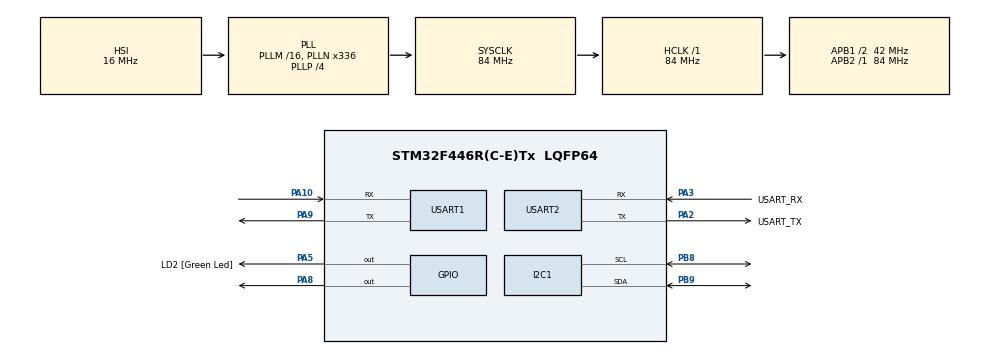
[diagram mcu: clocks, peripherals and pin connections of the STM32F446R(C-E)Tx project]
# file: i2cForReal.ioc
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Dma.I2C1_RX.1.Direction=DMA_PERIPH_TO_MEMORY
Dma.I2C1_RX.1.FIFOMode=DMA_FIFOMODE_DISABLE
Dma.I2C1_RX.1.Instance=DMA1_Stream0
Dma.I2C1_RX.1.MemDataAlignment=DMA_MDATAALIGN_BYTE
Dma.I2C1_RX.1.MemInc=DMA_MINC_ENABLE
Dma.I2C1_RX.1.Mode=DMA_NORMAL
Dma.I2C1_RX.1.PeriphDataAlignment=DMA_PDATAALIGN_BYTE
Dma.I2C1_RX.1.PeriphInc=DMA_PINC_DISABLE
Dma.I2C1_RX.1.Priority=DMA_PRIORITY_LOW
Dma.I2C1_TX.0.Direction=DMA_MEMORY_TO_PERIPH
Dma.I2C1_TX.0.FIFOMode=DMA_FIFOMODE_DISABLE
Dma.I2C1_TX.0.Instance=DMA1_Stream6
Dma.I2C1_TX.0.MemDataAlignment=DMA_MDATAALIGN_BYTE
Dma.I2C1_TX.0.MemInc=DMA_MINC_ENABLE
Dma.I2C1_TX.0.Mode=DMA_NORMAL
Dma.I2C1_TX.0.PeriphDataAlignment=DMA_PDATAALIGN_BYTE
Dma.I2C1_TX.0.PeriphInc=DMA_PINC_DISABLE
Dma.I2C1_TX.0.Priority=DMA_PRIORITY_LOW
Dma.Request0=I2C1_TX
Dma.Request1=I2C1_RX
Dma.Request2=USART1_RX
Dma.USART1_RX.2.Direction=DMA_PERIPH_TO_MEMORY
Dma.USART1_RX.2.FIFOMode=DMA_FIFOMODE_DISABLE
Dma.USART1_RX.2.Instance=DMA2_Stream2
Dma.USART1_RX.2.MemDataAlignment=DMA_MDATAALIGN_BYTE
Dma.USART1_RX.2.MemInc=DMA_MINC_ENABLE
Dma.USART1_RX.2.Mode=DMA_NORMAL
Dma.USART1_RX.2.PeriphDataAlignment=DMA_PDATAALIGN_BYTE
Dma.USART1_RX.2.PeriphInc=DMA_PINC_DISABLE
Dma.USART1_RX.2.Priority=DMA_PRIORITY_LOW
Mcu.Family=STM32F4
Mcu.Name=STM32F446R(C-E)Tx
Mcu.Package=LQFP64
NVIC.DMA1_Stream0_IRQn=true\:0\:0\:false\:false\:true\:false\:true\:true
NVIC.DMA1_Stream6_IRQn=true\:0\:0\:false\:false\:true\:false\:true\:true
NVIC.DMA2_Stream2_IRQn=true\:0\:0\:false\:false\:true\:false\:true\:true
NVIC.I2C1_ER_IRQn=true\:0\:0\:false\:false\:true\:true\:true\:true
NVIC.I2C1_EV_IRQn=true\:0\:0\:false\:false\:true\:true\:true\:true
NVIC.PriorityGroup=NVIC_PRIORITYGROUP_0
NVIC.TIM8_TRG_COM_TIM14_IRQn=true\:0\:0\:false\:false\:true\:true\:true\:true
PA10.Mode=Asynchronous
PA10.Signal=USART1_RX
PA13.GPIO_Label=TMS
PA13.Mode=Serial_Wire
PA13.Signal=SYS_JTMS-SWDIO
PA14.GPIO_Label=TCK
PA14.Mode=Serial_Wire
PA14.Signal=SYS_JTCK-SWCLK
PA2.GPIO_Label=USART_TX
PA2.Mode=Asynchronous
PA2.Signal=USART2_TX
PA3.GPIO_Label=USART_RX
PA3.Mode=Asynchronous
PA3.Signal=USART2_RX
PA5.GPIO_Label=LD2 [Green Led]
PA5.Signal=GPIO_Output
PA8.Signal=GPIO_Output
PA9.Mode=Asynchronous
PA9.Signal=USART1_TX
PB3.GPIO_Label=SWO
PB3.Signal=SYS_JTDO-SWO
PB8.Mode=I2C
PB8.Signal=I2C1_SCL
PB9.Mode=I2C
PB9.Signal=I2C1_SDA
PC14-OSC32_IN.Mode=LSE-External-Oscillator
PC14-OSC32_IN.Signal=RCC_OSC32_IN
PC15-OSC32_OUT.Mode=LSE-External-Oscillator
PC15-OSC32_OUT.Signal=RCC_OSC32_OUT
PH0-OSC_IN.Mode=HSE-External-Oscillator
PH0-OSC_IN.Signal=RCC_OSC_IN
PH1-OSC_OUT.Mode=HSE-External-Oscillator
PH1-OSC_OUT.Signal=RCC_OSC_OUT
ProjectManager.HeapSize=0x200
ProjectManager.StackSize=0x400
ProjectManager.TargetToolchain=STM32CubeIDE
RCC.48MHZClocksFreq_Value=84000000
RCC.AHBFreq_Value=84000000
RCC.APB1CLKDivider=RCC_HCLK_DIV2
RCC.APB1Freq_Value=42000000
RCC.APB1TimFreq_Value=84000000
RCC.APB2Freq_Value=84000000
RCC.APB2TimFreq_Value=84000000
RCC.CortexFreq_Value=84000000
RCC.FLatency-AdvancedSettings=FLASH_LATENCY_2
RCC.HCLKFreq_Value=84000000
RCC.HSE_VALUE=8000000
RCC.HSI_VALUE=16000000
RCC.PLLN=336
RCC.PLLP=RCC_PLLP_DIV4
RCC.SYSCLKFreq_VALUE=84000000
RCC.SYSCLKSource=RCC_SYSCLKSOURCE_PLLCLK
RCC.USBFreq_Value=168000000
RCC.VCOOutputFreq_Value=336000000
TIM14.Period=500-1
TIM14.Prescaler=84-1
USART1.VirtualMode=VM_ASYNC
USART2.VirtualMode=VM_ASYNC
VP_TIM14_VS_ClockSourceINT.Mode=Enable_Timer
board=NUCLEO-F446RE

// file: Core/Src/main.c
/* USER CODE BEGIN Header */
/**
  ******************************************************************************
  * @file           : main.c
  * @brief          : Main program body
  ******************************************************************************
  * @attention
  *
  * Copyright (c) 2025 STMicroelectronics.
  * All rights reserved.
  *
  * This software is licensed under terms that can be found in the LICENSE file
  * in the root directory of this software component.
  * If no LICENSE file comes with this software, it is provided AS-IS.
  *
  ******************************************************************************
  */
/* USER CODE END Header */
#include "main.h"

/* USER CODE BEGIN Includes */
#include <stdio.h>
#include <string.h>
/* USER CODE END Includes */

/* USER CODE BEGIN PTD */
//keeping task info nice and organized for use with our rtos scheduler
typedef struct task
{
	int state;
	unsigned long period;
	unsigned long elapsedTime;
	int (*Function)(int);// (float);
} task;
/* USER CODE END PTD */

/* USER CODE BEGIN PD */
//defining address of ina219
#define inaAddr (0x40 << 1)
#define inaReg (0x04)
/* USER CODE END PD */

I2C_HandleTypeDef hi2c1;
DMA_HandleTypeDef hdma_i2c1_tx;
DMA_HandleTypeDef hdma_i2c1_rx;

TIM_HandleTypeDef htim14;

UART_HandleTypeDef huart1;
UART_HandleTypeDef huart2;
DMA_HandleTypeDef hdma_usart1_rx;

/* USER CODE BEGIN PV */
//setting variables for rtos stuff
const unsigned int numTasks = 3;
const unsigned long period = 1;
//creating easy to read state variables
enum yellStates{start, talk};
enum uartStates{first, hello, ask1, ask2, ready, done};

task tasks[3];
//enum BL_states {BL0, BL1};
// global variables for current() task, didnt know how else to do this
float sample1 = 0;
float sample2 = 0;
uint8_t txBuf1[12];
uint8_t txBuf2[12];
uint8_t rxBuf1[12] = {0,1,1};
uint8_t rxBuf2[12];

HAL_StatusTypeDef ret;
int16_t val1;
int16_t val2;

uint8_t msg[16];
float amp1;
float amp2;
float thresh = .200;
uint8_t cal[3] = { 0x05, 0x10, 0x00 }; // reg 0x05, value 0x1000

/* USER CODE END PV */

void SystemClock_Config(void);
static void MX_GPIO_Init(void);
static void MX_DMA_Init(void);
static void MX_USART2_UART_Init(void);
static void MX_I2C1_Init(void);
static void MX_TIM14_Init(void);
static void MX_USART1_UART_Init(void);
/* USER CODE BEGIN PFP */

//void current(int state);
/* USER CODE END PFP */

/* USER CODE BEGIN 0 */

//Task for reading sensor data
enum currentStates{init, cali1, cali2, transmit1, transmit2, receive1, receive2};

int current(int state){
	switch(state){
		case init:
			state = cali1;
			break;
		case cali1:
			state = cali2;
			break;
		case cali2:
			state = transmit1;
			break;
		case transmit1:
			state = transmit2;
			break;
		case transmit2:
			state = receive1;
			break;
		case receive1:
			state = receive2;
			break;
		case receive2:
			state = receive1;
			break;
	}
	switch(state){
	//this state cablibrates the ina219 for output scaling
		case cali1:
			HAL_I2C_Master_Transmit(&hi2c1, (0x40u<<1), cal, 3, 100);
			break;
		case cali2:
			HAL_I2C_Master_Transmit(&hi2c1, (0x45u<<1), cal, 3, 100);
			break;
		case transmit1:
			txBuf1[0] = inaReg; //set first byte of buffer to register to read, prob for the transmit function.
			HAL_I2C_Master_Transmit(&hi2c1, inaAddr, txBuf1, 1, HAL_MAX_DELAY);
			break;
		case transmit2:
			txBuf2[0] = inaReg; //set first byte of buffer to register to read, prob for the transmit function.
			HAL_I2C_Master_Transmit(&hi2c1, 0x45u<<1, txBuf2, 1, HAL_MAX_DELAY);
			break;
		case receive1:
			HAL_I2C_Master_Receive(&hi2c1, inaAddr, txBuf1, 2, 100);// read function, device addr, where to store data, number of bytes to receive
			val1 = ((int16_t)txBuf1[0] << 8) | (txBuf1[1]); 								//combine the two bytes that we are recieving
			amp1 = val1 * 0.00010138f;
			sample1 = amp1;//amp1;
			break;
		case receive2:
			HAL_I2C_Master_Receive(&hi2c1, 0x45u<<1, txBuf2, 2, 100);// read function, device addr, where to store data, number of bytes to receive
			val2 = ((int16_t)txBuf2[0] << 8) | (txBuf2[1]); 								//combine the two bytes that we are recieving
			amp2 = val2 * 0.00010138f;
			sample2 = amp2;//amp2;
			break;
	}
	return state;
}
//task to print through uart to the esp
int yell(int state){
	switch(state){
		case start:
			state = talk;
			break;
		case talk:
			state = talk;
			break;
	}
	switch(state){
		case talk:
			//variables to create message then send
		  uint8_t msgf1[32];
		  uint8_t msgf2[32];

		  //float amps = sample;
		  snprintf(msgf1, sizeof(msgf1), "Sample1: %.1f mA\r\n", sample1*1000.0f);//amps in whole, amps in mA, this stores message we want to send
		  HAL_UART_Transmit(&huart1, (uint8_t *)msgf1, strlen(msgf1), HAL_MAX_DELAY);//HAL_MAX_DELAY); this sends the message we stored
		  snprintf(msgf2, sizeof(msgf2), "Sample2: %.1f mA\r\n", sample2*1000.0f);//*1000.0f);//amps in whole, amps in mA
		  HAL_UART_Transmit(&huart1, (uint8_t *)msgf2, strlen(msgf2), HAL_MAX_DELAY);//HAL_MAX_DELAY);
		  break;
	}
	return state;
}
//this task toggles the pin that turns the relay on and onff
enum thresholdStates{start2, check};
int threshold(int state){
	switch(state){
		case start2:
			state = check;
			break;
		case check: // constantly loop to check if we are over threshold
			state = check;
			break;
	}
	switch(state){
		case check://threshold checking and then gpio toggle
			if ((sample1 > thresh) || (sample2 > thresh)){
				HAL_GPIO_WritePin(GPIOA, GPIO_PIN_8, 1);
			}else{
				HAL_GPIO_WritePin(GPIOA, GPIO_PIN_8, 0);
			}

			break;
	}
	return state;
}

//unfinished

/* USER CODE END 0 */

int main(void)
{

  /* USER CODE BEGIN 1 */
	//same stuff as in class
	tasks[0].state = init;
	tasks[0].period = 2; //every tick is half a milisecond through clock division, so 2 * .5ms = 1000Hz
	tasks[0].elapsedTime = tasks[0].period;
	tasks[0].Function = &current;
	tasks[1].state = start;
	tasks[1].period = 1000; //.5 seconds
	tasks[1].elapsedTime = tasks[1].period;
	tasks[1].Function = &yell;
	tasks[1].state = start2;
	tasks[2].period = 1000; //.5 seconds
	tasks[2].elapsedTime = tasks[2].period;
	tasks[2].Function = &threshold;
	//HAL_GPIO_WritePin(GPIOA, GPIO_PIN_8, 1);
  /* USER CODE END 1 */

  /* MCU Configuration--------------------------------------------------------*/

  /* Reset of all peripherals, Initializes the Flash interface and the Systick. */
  HAL_Init();

  /* Configure the system clock */
  SystemClock_Config();

  /* Initialize all configured peripherals */
  MX_GPIO_Init();
  MX_DMA_Init();
  MX_USART2_UART_Init();
  MX_I2C1_Init();
  MX_TIM14_Init();
  MX_USART1_UART_Init();
  /* USER CODE BEGIN 2 */
  HAL_TIM_Base_Start_IT(&htim14);
  /* USER CODE END 2 */

  /* Infinite loop */
  /* USER CODE BEGIN WHILE */
  while (1)
  {
		//HAL_GPIO_WritePin(GPIOA, GPIO_PIN_8, 1);

    /* USER CODE END WHILE */

  }
}

void SystemClock_Config(void)
{
  RCC_OscInitTypeDef RCC_OscInitStruct = {0};
  RCC_ClkInitTypeDef RCC_ClkInitStruct = {0};

  /** Configure the main internal regulator output voltage
  */
  __HAL_RCC_PWR_CLK_ENABLE();
  __HAL_PWR_VOLTAGESCALING_CONFIG(PWR_REGULATOR_VOLTAGE_SCALE3);

  /** Initializes the RCC Oscillators according to the specified parameters
  * in the RCC_OscInitTypeDef structure.
  */
  RCC_OscInitStruct.OscillatorType = RCC_OSCILLATORTYPE_HSI;
  RCC_OscInitStruct.HSIState = RCC_HSI_ON;
  RCC_OscInitStruct.HSICalibrationValue = RCC_HSICALIBRATION_DEFAULT;
  RCC_OscInitStruct.PLL.PLLState = RCC_PLL_ON;
  RCC_OscInitStruct.PLL.PLLSource = RCC_PLLSOURCE_HSI;
  RCC_OscInitStruct.PLL.PLLM = 16;
  RCC_OscInitStruct.PLL.PLLN = 336;
  RCC_OscInitStruct.PLL.PLLP = RCC_PLLP_DIV4;
  RCC_OscInitStruct.PLL.PLLQ = 2;
  RCC_OscInitStruct.PLL.PLLR = 2;
  if (HAL_RCC_OscConfig(&RCC_OscInitStruct) != HAL_OK)
  {
    Error_Handler();
  }

  /** Initializes the CPU, AHB and APB buses clocks
  */
  RCC_ClkInitStruct.ClockType = RCC_CLOCKTYPE_HCLK|RCC_CLOCKTYPE_SYSCLK
                              |RCC_CLOCKTYPE_PCLK1|RCC_CLOCKTYPE_PCLK2;
  RCC_ClkInitStruct.SYSCLKSource = RCC_SYSCLKSOURCE_PLLCLK;
  RCC_ClkInitStruct.AHBCLKDivider = RCC_SYSCLK_DIV1;
  RCC_ClkInitStruct.APB1CLKDivider = RCC_HCLK_DIV2;
  RCC_ClkInitStruct.APB2CLKDivider = RCC_HCLK_DIV1;

  if (HAL_RCC_ClockConfig(&RCC_ClkInitStruct, FLASH_LATENCY_2) != HAL_OK)
  {
    Error_Handler();
  }
}

static void MX_I2C1_Init(void)
{

  hi2c1.Instance = I2C1;
  hi2c1.Init.ClockSpeed = 100000;
  hi2c1.Init.DutyCycle = I2C_DUTYCYCLE_2;
  hi2c1.Init.OwnAddress1 = 0;
  hi2c1.Init.AddressingMode = I2C_ADDRESSINGMODE_7BIT;
  hi2c1.Init.DualAddressMode = I2C_DUALADDRESS_DISABLE;
  hi2c1.Init.OwnAddress2 = 0;
  hi2c1.Init.GeneralCallMode = I2C_GENERALCALL_DISABLE;
  hi2c1.Init.NoStretchMode = I2C_NOSTRETCH_DISABLE;
  if (HAL_I2C_Init(&hi2c1) != HAL_OK)
  {
    Error_Handler();
  }

}

static void MX_TIM14_Init(void)
{

  htim14.Instance = TIM14;
  htim14.Init.Prescaler = 84-1;
  htim14.Init.CounterMode = TIM_COUNTERMODE_UP;
  htim14.Init.Period = 500-1;
  htim14.Init.ClockDivision = TIM_CLOCKDIVISION_DIV1;
  htim14.Init.AutoReloadPreload = TIM_AUTORELOAD_PRELOAD_DISABLE;
  if (HAL_TIM_Base_Init(&htim14) != HAL_OK)
  {
    Error_Handler();
  }

}

static void MX_USART1_UART_Init(void)
{

  huart1.Instance = USART1;
  huart1.Init.BaudRate = 115200;
  huart1.Init.WordLength = UART_WORDLENGTH_8B;
  huart1.Init.StopBits = UART_STOPBITS_1;
  huart1.Init.Parity = UART_PARITY_NONE;
  huart1.Init.Mode = UART_MODE_TX_RX;
  huart1.Init.HwFlowCtl = UART_HWCONTROL_NONE;
  huart1.Init.OverSampling = UART_OVERSAMPLING_16;
  if (HAL_UART_Init(&huart1) != HAL_OK)
  {
    Error_Handler();
  }

}

static void MX_USART2_UART_Init(void)
{

  huart2.Instance = USART2;
  huart2.Init.BaudRate = 115200;
  huart2.Init.WordLength = UART_WORDLENGTH_8B;
  huart2.Init.StopBits = UART_STOPBITS_1;
  huart2.Init.Parity = UART_PARITY_NONE;
  huart2.Init.Mode = UART_MODE_TX_RX;
  huart2.Init.HwFlowCtl = UART_HWCONTROL_NONE;
  huart2.Init.OverSampling = UART_OVERSAMPLING_16;
  if (HAL_UART_Init(&huart2) != HAL_OK)
  {
    Error_Handler();
  }

}

static void MX_DMA_Init(void)
{

  /* DMA controller clock enable */
  __HAL_RCC_DMA1_CLK_ENABLE();
  __HAL_RCC_DMA2_CLK_ENABLE();

  /* DMA interrupt init */
  /* DMA1_Stream0_IRQn interrupt configuration */
  HAL_NVIC_SetPriority(DMA1_Stream0_IRQn, 0, 0);
  HAL_NVIC_EnableIRQ(DMA1_Stream0_IRQn);
  /* DMA1_Stream6_IRQn interrupt configuration */
  HAL_NVIC_SetPriority(DMA1_Stream6_IRQn, 0, 0);
  HAL_NVIC_EnableIRQ(DMA1_Stream6_IRQn);
  /* DMA2_Stream2_IRQn interrupt configuration */
  HAL_NVIC_SetPriority(DMA2_Stream2_IRQn, 0, 0);
  HAL_NVIC_EnableIRQ(DMA2_Stream2_IRQn);

}

static void MX_GPIO_Init(void)
{
  GPIO_InitTypeDef GPIO_InitStruct = {0};

  /* GPIO Ports Clock Enable */
  __HAL_RCC_GPIOC_CLK_ENABLE();
  __HAL_RCC_GPIOH_CLK_ENABLE();
  __HAL_RCC_GPIOA_CLK_ENABLE();
  __HAL_RCC_GPIOB_CLK_ENABLE();

  /*Configure GPIO pin Output Level */
  HAL_GPIO_WritePin(GPIOA, LD2_Pin|GPIO_PIN_8, GPIO_PIN_RESET);

  /*Configure GPIO pins : LD2_Pin PA8 */
  GPIO_InitStruct.Pin = LD2_Pin|GPIO_PIN_8;
  GPIO_InitStruct.Mode = GPIO_MODE_OUTPUT_PP;
  GPIO_InitStruct.Pull = GPIO_NOPULL;
  GPIO_InitStruct.Speed = GPIO_SPEED_FREQ_LOW;
  HAL_GPIO_Init(GPIOA, &GPIO_InitStruct);

}

/* USER CODE BEGIN 4 */
//CALL BACK: TIMER HAS RESET
// same stuff as in class
void HAL_TIM_PeriodElapsedCallback(TIM_HandleTypeDef *htim){
	//all timers go here so check for certain timer
	if(htim == &htim14){
		//run basic rtos code
		 for (int i = 0; i < numTasks; i++){
			 if (tasks[i].elapsedTime >= tasks[i].period)
			 {
				 tasks[i].state = tasks[i].Function(tasks[i].state);
				 tasks[i].elapsedTime = 0;

			 }
			 tasks[i].elapsedTime += period;
		 }
	}
}
void HAL_UART_RxCpltCallback(UART_HandleTypeDef *huart)
{
	//if(huart == &huart1){
	    HAL_UART_Receive_DMA(&huart1, rxBuf1, 12);
	//}
}
/* USER CODE END 4 */

void Error_Handler(void)
{
  __disable_irq();
  while (1)
  {
  }
}
